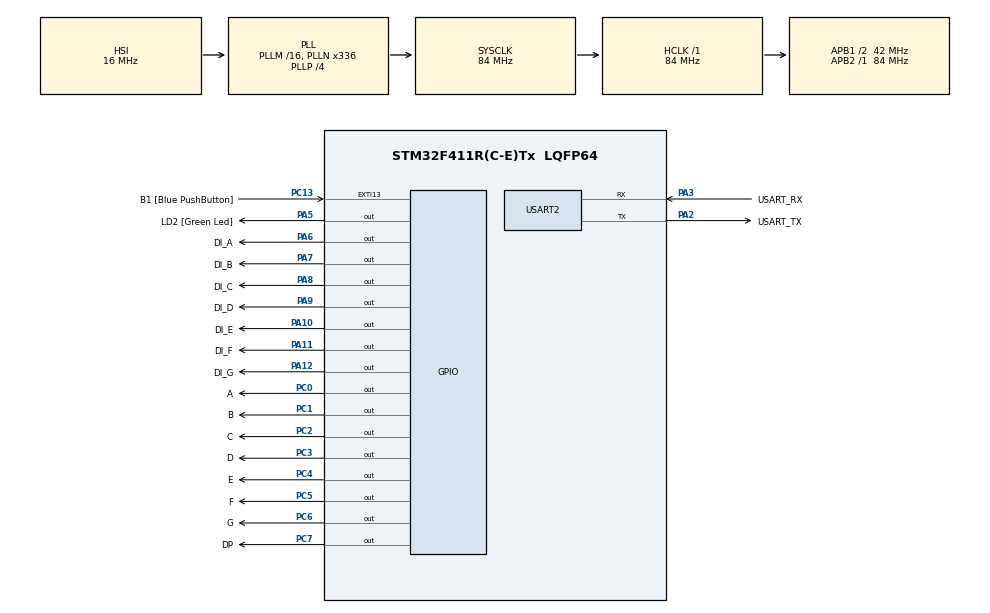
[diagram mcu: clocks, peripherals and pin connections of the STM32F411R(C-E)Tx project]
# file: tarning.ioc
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Mcu.Family=STM32F4
Mcu.Name=STM32F411R(C-E)Tx
Mcu.Package=LQFP64
NVIC.PriorityGroup=NVIC_PRIORITYGROUP_0
PA10.GPIO_Label=DI_E
PA10.Signal=GPIO_Output
PA11.GPIO_Label=DI_F
PA11.Signal=GPIO_Output
PA12.GPIO_Label=DI_G
PA12.Signal=GPIO_Output
PA13.GPIO_Label=TMS
PA13.Mode=Serial_Wire
PA13.Signal=SYS_JTMS-SWDIO
PA14.GPIO_Label=TCK
PA14.Mode=Serial_Wire
PA14.Signal=SYS_JTCK-SWCLK
PA2.GPIO_Label=USART_TX
PA2.Mode=Asynchronous
PA2.Signal=USART2_TX
PA3.GPIO_Label=USART_RX
PA3.Mode=Asynchronous
PA3.Signal=USART2_RX
PA5.GPIO_Label=LD2 [Green Led]
PA5.Signal=GPIO_Output
PA6.GPIO_Label=DI_A
PA6.Signal=GPIO_Output
PA7.GPIO_Label=DI_B
PA7.Signal=GPIO_Output
PA8.GPIO_Label=DI_C
PA8.Signal=GPIO_Output
PA9.GPIO_Label=DI_D
PA9.Signal=GPIO_Output
PB3.GPIO_Label=SWO
PB3.Signal=SYS_JTDO-SWO
PC0.GPIO_Label=A
PC0.Signal=GPIO_Output
PC1.GPIO_Label=B
PC1.Signal=GPIO_Output
PC13-ANTI_TAMP.GPIO_Label=B1 [Blue PushButton]
PC13-ANTI_TAMP.GPIO_ModeDefaultEXTI=GPIO_MODE_IT_FALLING
PC13-ANTI_TAMP.Signal=GPXTI13
PC14-OSC32_IN.Mode=LSE-External-Oscillator
PC14-OSC32_IN.Signal=RCC_OSC32_IN
PC15-OSC32_OUT.Mode=LSE-External-Oscillator
PC15-OSC32_OUT.Signal=RCC_OSC32_OUT
PC2.GPIO_Label=C
PC2.Signal=GPIO_Output
PC3.GPIO_Label=D
PC3.Signal=GPIO_Output
PC4.GPIO_Label=E
PC4.Signal=GPIO_Output
PC5.GPIO_Label=F
PC5.Signal=GPIO_Output
PC6.GPIO_Label=G
PC6.Signal=GPIO_Output
PC7.GPIO_Label=DP
PC7.Signal=GPIO_Output
PH0\ -\ OSC_IN.Mode=HSE-External-Clock-Source
PH0\ -\ OSC_IN.Signal=RCC_OSC_IN
PH1\ -\ OSC_OUT.Mode=HSE-External-Clock-Source
PH1\ -\ OSC_OUT.Signal=RCC_OSC_OUT
ProjectManager.HeapSize=0x200
ProjectManager.StackSize=0x400
ProjectManager.TargetToolchain=STM32CubeIDE
RCC.48MHZClocksFreq_Value=84000000
RCC.AHBFreq_Value=84000000
RCC.APB1CLKDivider=RCC_HCLK_DIV2
RCC.APB1Freq_Value=42000000
RCC.APB1TimFreq_Value=84000000
RCC.APB2Freq_Value=84000000
RCC.APB2TimFreq_Value=84000000
RCC.CortexFreq_Value=84000000
RCC.FLatency-AdvancedSettings=FLASH_LATENCY_2
RCC.HCLKFreq_Value=84000000
RCC.HSE_VALUE=8000000
RCC.HSI_VALUE=16000000
RCC.PLLN=336
RCC.PLLP=RCC_PLLP_DIV4
RCC.SYSCLKFreq_VALUE=84000000
RCC.SYSCLKSource=RCC_SYSCLKSOURCE_PLLCLK
RCC.VCOOutputFreq_Value=336000000
USART2.VirtualMode=VM_ASYNC
board=NUCLEO-F411RE

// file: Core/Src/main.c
/* USER CODE BEGIN Header */
/**
  ******************************************************************************
  * @file           : main.c
  * @brief          : Main program body
  ******************************************************************************
  * @attention
  *
  * Copyright (c) 2023 STMicroelectronics.
  * All rights reserved.
  *
  * This software is licensed under terms that can be found in the LICENSE file
  * in the root directory of this software component.
  * If no LICENSE file comes with this software, it is provided AS-IS.
  *
  ******************************************************************************
  */
/* USER CODE END Header */
#include "main.h"

/* USER CODE BEGIN Includes */
#include <stdio.h>
/* USER CODE END Includes */

UART_HandleTypeDef huart2;

void SystemClock_Config(void);
static void MX_GPIO_Init(void);
static void MX_USART2_UART_Init(void);
/* USER CODE BEGIN PFP */
int is_blue_button_pressed();
void put_die_dots(uint8_t die_nbr);
/* USER CODE END PFP */

/* USER CODE BEGIN 0 */
// returns 1 if blue button is pressed
// return 0 if blue button isn't pressed
int is_blue_button_pressed() {

	if ((GPIOC->IDR & GPIO_PIN_13) == 0) {
		return 1; // knappen är nedtryckt
	}
	else
	{
		return 0; //knappen är inte nedtryckt
	}
}

void put_die_dots(uint8_t die_nbr) {
	// die can only be between 1 and 6
	switch (die_nbr)
	​{
	    case 1:
	      // statements
	      break;

	    case 2:
	      // statements
	      break;

	    case 3:
	      // statements
	      break;

	    case 4:
	      // statements
	      break;

	    case 5:
	      // statements
	      break;

	    case 6:
	      // statements
	      break;

	    default:
	      // default statements
	}

}
/* USER CODE END 0 */

int main(void)
{

  /* MCU Configuration--------------------------------------------------------*/

  /* Reset of all peripherals, Initializes the Flash interface and the Systick. */
  HAL_Init();

  /* Configure the system clock */
  SystemClock_Config();

  /* Initialize all configured peripherals */
  MX_GPIO_Init();
  MX_USART2_UART_Init();

  /* Infinite loop */
  /* USER CODE BEGIN WHILE */
  int pressed = 0;
  uint8_t die_value = 1; // 1 <= die_value <= 6
  char str[50] = { '\0' };
  uint16_t str_len = 0;
  while (1)
  {
	  HAL_Delay(3000);
	  str_len = sprintf(str, "Dice: %u \r\n", die_value);
	  HAL_UART_Transmit(&huart2, (uint8_t*) str, str_len, HAL_MAX_DELAY);

	  if(die_value < 6) {
		  die_value++;
	  }
	  else
	  {
		  die_value = 1;
	  }

	  //pressed = HAL_GPIO_ReadPin(B1_GPIO_Port, B1_Pin);
	  pressed = is_blue_button_pressed();
	  if (pressed)
	  {
		  HAL_GPIO_WritePin(LD2_GPIO_Port, LD2_Pin, GPIO_PIN_SET);
	  }
	  else
	  {
		  GPIO_TypeDef* ld2_gpio = GPIOA; // wrong! - fixed
		  uint16_t      ld2_pin_nbr = 5; // wrong! - fixed
		  uint16_t      ld2_pin     = 0x01 << ld2_pin_nbr;
		  HAL_GPIO_WritePin(ld2_gpio, ld2_pin, GPIO_PIN_RESET);
	  }

    /* USER CODE END WHILE */
  }
}

void SystemClock_Config(void)
{
  RCC_OscInitTypeDef RCC_OscInitStruct = {0};
  RCC_ClkInitTypeDef RCC_ClkInitStruct = {0};

  /** Configure the main internal regulator output voltage
  */
  __HAL_RCC_PWR_CLK_ENABLE();
  __HAL_PWR_VOLTAGESCALING_CONFIG(PWR_REGULATOR_VOLTAGE_SCALE1);

  /** Initializes the RCC Oscillators according to the specified parameters
  * in the RCC_OscInitTypeDef structure.
  */
  RCC_OscInitStruct.OscillatorType = RCC_OSCILLATORTYPE_HSI;
  RCC_OscInitStruct.HSIState = RCC_HSI_ON;
  RCC_OscInitStruct.HSICalibrationValue = RCC_HSICALIBRATION_DEFAULT;
  RCC_OscInitStruct.PLL.PLLState = RCC_PLL_ON;
  RCC_OscInitStruct.PLL.PLLSource = RCC_PLLSOURCE_HSI;
  RCC_OscInitStruct.PLL.PLLM = 16;
  RCC_OscInitStruct.PLL.PLLN = 336;
  RCC_OscInitStruct.PLL.PLLP = RCC_PLLP_DIV4;
  RCC_OscInitStruct.PLL.PLLQ = 4;
  if (HAL_RCC_OscConfig(&RCC_OscInitStruct) != HAL_OK)
  {
    Error_Handler();
  }

  /** Initializes the CPU, AHB and APB buses clocks
  */
  RCC_ClkInitStruct.ClockType = RCC_CLOCKTYPE_HCLK|RCC_CLOCKTYPE_SYSCLK
                              |RCC_CLOCKTYPE_PCLK1|RCC_CLOCKTYPE_PCLK2;
  RCC_ClkInitStruct.SYSCLKSource = RCC_SYSCLKSOURCE_PLLCLK;
  RCC_ClkInitStruct.AHBCLKDivider = RCC_SYSCLK_DIV1;
  RCC_ClkInitStruct.APB1CLKDivider = RCC_HCLK_DIV2;
  RCC_ClkInitStruct.APB2CLKDivider = RCC_HCLK_DIV1;

  if (HAL_RCC_ClockConfig(&RCC_ClkInitStruct, FLASH_LATENCY_2) != HAL_OK)
  {
    Error_Handler();
  }
}

static void MX_USART2_UART_Init(void)
{

  huart2.Instance = USART2;
  huart2.Init.BaudRate = 115200;
  huart2.Init.WordLength = UART_WORDLENGTH_8B;
  huart2.Init.StopBits = UART_STOPBITS_1;
  huart2.Init.Parity = UART_PARITY_NONE;
  huart2.Init.Mode = UART_MODE_TX_RX;
  huart2.Init.HwFlowCtl = UART_HWCONTROL_NONE;
  huart2.Init.OverSampling = UART_OVERSAMPLING_16;
  if (HAL_UART_Init(&huart2) != HAL_OK)
  {
    Error_Handler();
  }

}

static void MX_GPIO_Init(void)
{
  GPIO_InitTypeDef GPIO_InitStruct = {0};

  /* GPIO Ports Clock Enable */
  __HAL_RCC_GPIOC_CLK_ENABLE();
  __HAL_RCC_GPIOH_CLK_ENABLE();
  __HAL_RCC_GPIOA_CLK_ENABLE();
  __HAL_RCC_GPIOB_CLK_ENABLE();

  /*Configure GPIO pin Output Level */
  HAL_GPIO_WritePin(GPIOA, LD2_Pin|DI_A_Pin|DI_B_Pin|DI_C_Pin
                          |DI_D_Pin|DI_E_Pin|DI_F_Pin|DI_G_Pin, GPIO_PIN_RESET);

  /*Configure GPIO pin : B1_Pin */
  GPIO_InitStruct.Pin = B1_Pin;
  GPIO_InitStruct.Mode = GPIO_MODE_IT_FALLING;
  GPIO_InitStruct.Pull = GPIO_NOPULL;
  HAL_GPIO_Init(B1_GPIO_Port, &GPIO_InitStruct);

  /*Configure GPIO pins : LD2_Pin DI_A_Pin DI_B_Pin DI_C_Pin
                           DI_D_Pin DI_E_Pin DI_F_Pin DI_G_Pin */
  GPIO_InitStruct.Pin = LD2_Pin|DI_A_Pin|DI_B_Pin|DI_C_Pin
                          |DI_D_Pin|DI_E_Pin|DI_F_Pin|DI_G_Pin;
  GPIO_InitStruct.Mode = GPIO_MODE_OUTPUT_PP;
  GPIO_InitStruct.Pull = GPIO_NOPULL;
  GPIO_InitStruct.Speed = GPIO_SPEED_FREQ_LOW;
  HAL_GPIO_Init(GPIOA, &GPIO_InitStruct);

}

void Error_Handler(void)
{
  __disable_irq();
  while (1)
  {
  }
}
